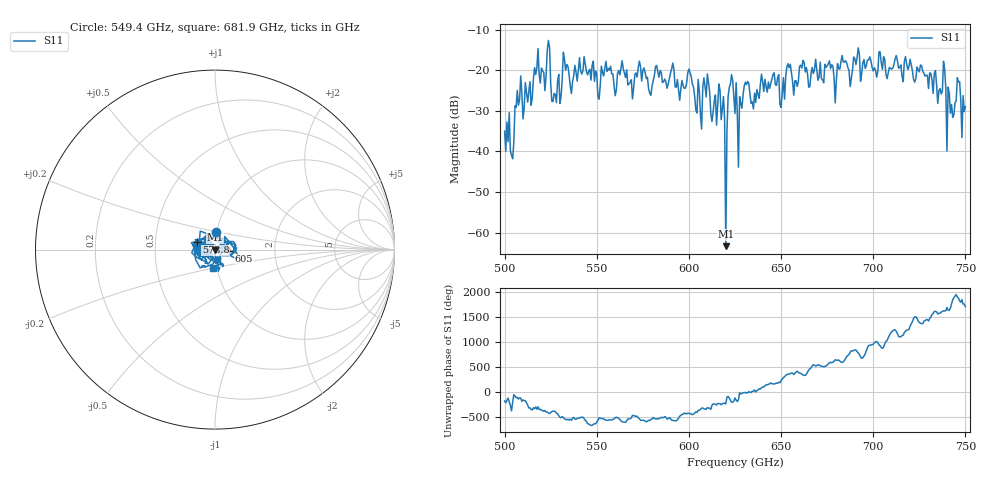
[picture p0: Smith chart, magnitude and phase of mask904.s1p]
!Created with skrf (http://scikit-rf.org).
# GHz S MA R 50.0
!freq magS11 angS11
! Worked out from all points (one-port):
!   401 points, 500 GHz to 750 GHz, reference 50 ohm
!   lowest |S11| = -63.4 dB at 620 GHz (marker M1), VSWR 1.00, Z = 50 + j0.0557 ohm
!   |S11| at or under -10 dB: start of sweep to end of sweep
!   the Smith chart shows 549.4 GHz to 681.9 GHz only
!   S11 on the Smith chart (normalised r, x): 549.4 GHz: 1.00, +0.20; 573.8 GHz: 0.81, +0.07; 605 GHz: 1.17, -0.01; 681.9 GHz: 0.95, -0.20
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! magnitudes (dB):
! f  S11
! 500 GHz  -35.0
! 504.4 GHz  -41.8
! 507.5 GHz  -28.6
! 513.8 GHz  -22.8
! 516.9 GHz  -21.0
! 523.8 GHz  -12.6
! 526.9 GHz  -25.7
! 531.2 GHz  -22.2
! 549.4 GHz  -20.2
! 562.5 GHz  -21.1
! 573.8 GHz  -19.1
! 593.8 GHz  -22.2
! 600.6 GHz  -20.6
! 605 GHz  -22.2
! 617.5 GHz  -32.1
! 618.8 GHz  -26.5
! 620 GHz  -63.4
! 621.2 GHz  -26.5
! 622.5 GHz  -23.4
! 625 GHz  -30.6
! 627.5 GHz  -26.5
! 631.2 GHz  -23.5
! 635 GHz  -29.5
! 656.2 GHz  -22.7
! 681.9 GHz  -19.7
! 687.5 GHz  -24.0
! 718.8 GHz  -19.8
! 750 GHz  -28.9
